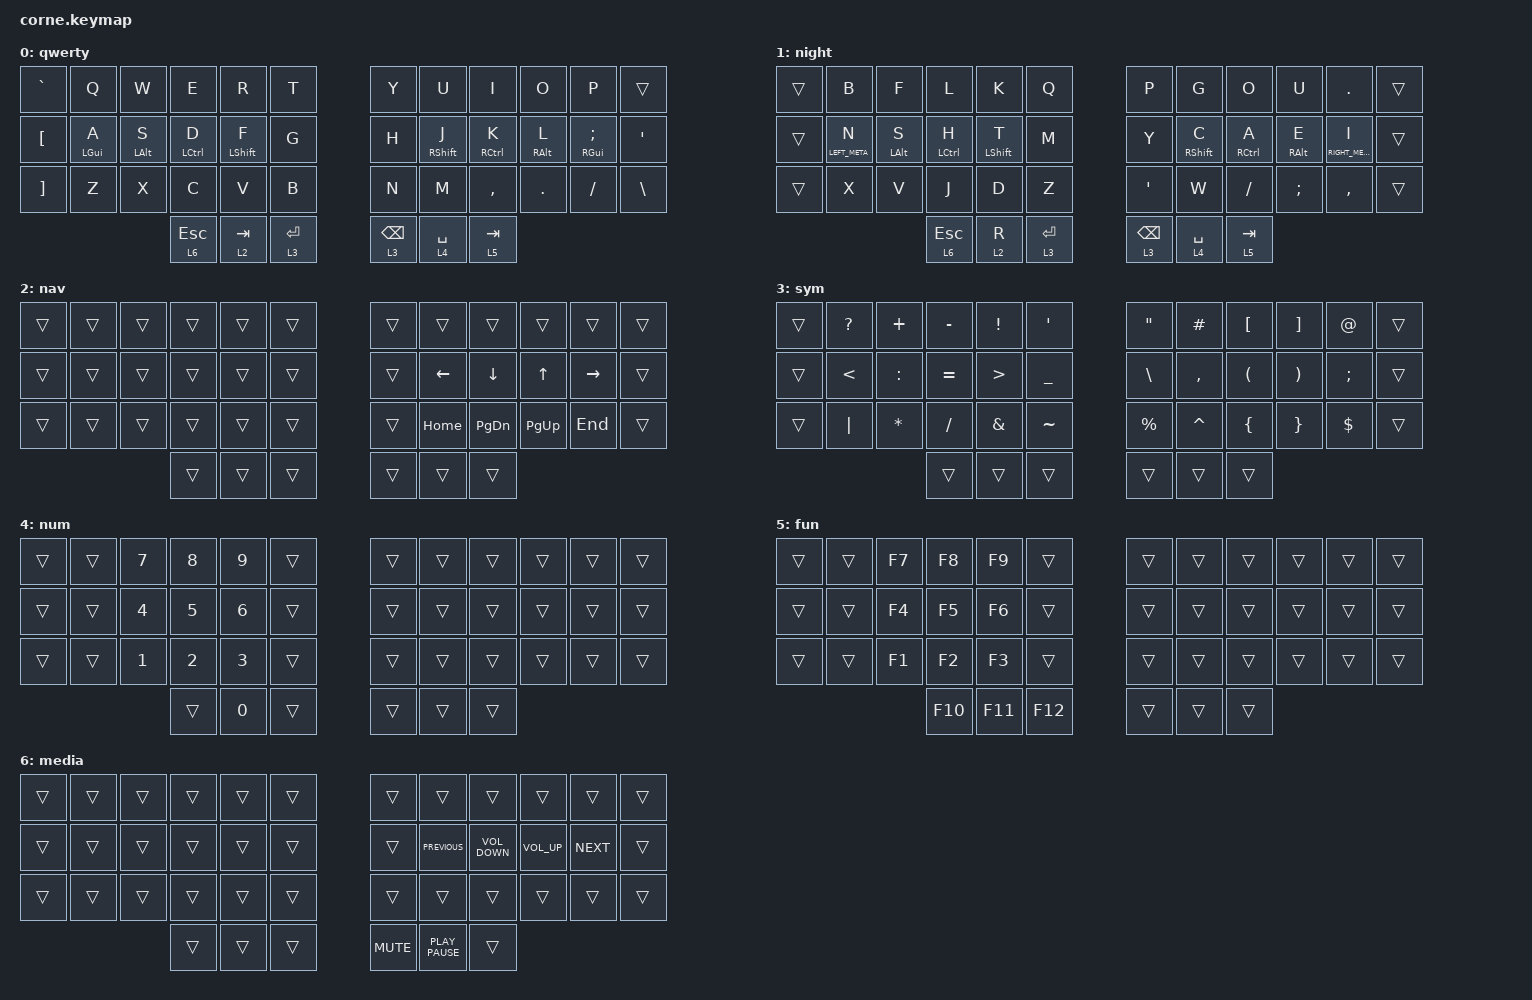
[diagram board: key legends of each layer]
/*
 * Copyright (c) 2020 The ZMK Contributors
 *
 * SPDX-License-Identifier: MIT
 */

#include <behaviors.dtsi>
#include <dt-bindings/zmk/keys.h>

/ {
    behaviors {
        hrm: hrm {
            compatible = "zmk,behavior-hold-tap";
            label = "Home Row Mod";
            bindings = <&kp>, <&kp>;

            #binding-cells = <2>;
            flavor = "balanced";
            tapping-term-ms = <200>;
            require-prior-idle-ms = <200>;
            quick-tap-ms = <200>;
        };
    };

    combos {
        compatible = "zmk,combos";

        combo_delete {
            bindings = <&kp DELETE>;
            key-positions = <16 39>;
        };

        combo_to_night {
            bindings = <&to 1>;
            key-positions = <38 39>;
            layers = <0>;
        };

        combo_to_qwerty {
            bindings = <&to 0>;
            key-positions = <38 39>;
            layers = <1>;
        };
    };

    keymap {
        compatible = "zmk,keymap";

        qwerty {
            // -----------------------------------------------------------------------------------------
            // |  TAB |  Q  |  W  |  E  |  R  |  T  |   |  Y  |  U   |  I  |  O  |  P  | BKSP |
            // | CTRL |  A  |  S  |  D  |  F  |  G  |   |  H  |  J   |  K  |  L  |  ;  |  '   |
            // | SHFT |  Z  |  X  |  C  |  V  |  B  |   |  N  |  M   |  ,  |  .  |  /  | ESC  |
            //                    | GUI | LWR | SPC |   | ENT | RSE  | ALT |

            bindings = <
&kp GRAVE          &kp Q        &kp W        &kp E         &kp R          &kp T          &kp Y            &kp U          &kp I         &kp O        &kp P           &trans
&kp LEFT_BRACKET   &hrm LGUI A  &hrm LALT S  &hrm LCTRL D  &hrm LSHIFT F  &kp G          &kp H            &hrm RSHIFT J  &hrm RCTRL K  &hrm RALT L  &hrm RGUI SEMI  &kp SQT
&kp RIGHT_BRACKET  &kp Z        &kp X        &kp C         &kp V          &kp B          &kp N            &kp M          &kp COMMA     &kp DOT      &kp FSLH        &kp BSLH
                                             &lt 6 ESCAPE  &lt 2 TAB      &lt 3 ENTER    &lt 3 BACKSPACE  &lt 4 SPACE    &lt 5 TAB
            >;
        };

        night {
            bindings = <
&trans  &kp B             &kp F            &kp L                &kp K              &kp Q          &kp P            &kp G               &kp O                 &kp U             &kp DOT            &trans
&trans  &hrm LEFT_META N  &hrm LEFT_ALT S  &hrm LEFT_CONTROL H  &hrm LEFT_SHIFT T  &kp M          &kp Y            &hrm RIGHT_SHIFT C  &hrm RIGHT_CONTROL A  &hrm RIGHT_ALT E  &hrm RIGHT_META I  &trans
&trans  &kp X             &kp V            &kp J                &kp D              &kp Z          &kp APOS         &kp W               &kp FSLH              &kp SEMI          &kp COMMA          &trans
                                           &lt 6 ESCAPE         &lt 2 R            &lt 3 ENTER    &lt 3 BACKSPACE  &lt 4 SPACE         &lt 5 TAB
            >;
        };

        nav {
            // -----------------------------------------------------------------------------------------
            // |  TAB |  1  |  2  |  3  |  4  |  5  |   |  6  |  7  |  8  |  9  |  0  | BKSP |
            // | BTCLR| BT1 | BT2 | BT3 | BT4 | BT5 |   | LFT | DWN |  UP | RGT |     |      |
            // | SHFT |     |     |     |     |     |   |     |     |     |     |     |      |
            //                    | GUI |     | SPC |   | ENT |     | ALT |

            bindings = <
&trans  &trans  &trans  &trans  &trans  &trans    &trans  &trans    &trans         &trans       &trans     &trans
&trans  &trans  &trans  &trans  &trans  &trans    &trans  &kp LEFT  &kp DOWN       &kp UP       &kp RIGHT  &trans
&trans  &trans  &trans  &trans  &trans  &trans    &trans  &kp HOME  &kp PAGE_DOWN  &kp PAGE_UP  &kp END    &trans
                        &trans  &trans  &trans    &trans  &trans    &trans
            >;
        };

        sym {
            bindings = <
&trans  &kp QUESTION   &kp PLUS   &kp MINUS  &kp EXCL          &kp SINGLE_QUOTE    &kp DOUBLE_QUOTES  &kp HASH   &kp LEFT_BRACKET      &kp RIGHT_BRACKET      &kp AT      &trans
&trans  &kp LESS_THAN  &kp COLON  &kp EQUAL  &kp GREATER_THAN  &kp UNDER           &kp BACKSLASH      &kp COMMA  &kp LEFT_PARENTHESIS  &kp RIGHT_PARENTHESIS  &kp SEMI    &trans
&trans  &kp PIPE       &kp ASTRK  &kp SLASH  &kp AMPS          &kp TILDE           &kp PERCENT        &kp CARET  &kp LEFT_BRACE        &kp RIGHT_BRACE        &kp DOLLAR  &trans
                                  &trans     &trans            &trans              &trans             &trans     &trans
            >;
        };

        num {
            bindings = <
&trans  &trans  &kp N7  &kp N8  &kp N9  &trans    &trans  &trans  &trans  &trans  &trans  &trans
&trans  &trans  &kp N4  &kp N5  &kp N6  &trans    &trans  &trans  &trans  &trans  &trans  &trans
&trans  &trans  &kp N1  &kp N2  &kp N3  &trans    &trans  &trans  &trans  &trans  &trans  &trans
                        &trans  &kp N0  &trans    &trans  &trans  &trans
            >;
        };

        fun {
            bindings = <
&trans  &trans  &kp F7  &kp F8   &kp F9   &trans     &trans  &trans  &trans  &trans  &trans  &trans
&trans  &trans  &kp F4  &kp F5   &kp F6   &trans     &trans  &trans  &trans  &trans  &trans  &trans
&trans  &trans  &kp F1  &kp F2   &kp F3   &trans     &trans  &trans  &trans  &trans  &trans  &trans
                        &kp F10  &kp F11  &kp F12    &trans  &trans  &trans
            >;
        };

        media {
            bindings = <
&trans  &trans  &trans  &trans  &trans  &trans    &trans      &trans            &trans             &trans           &trans      &trans
&trans  &trans  &trans  &trans  &trans  &trans    &trans      &kp K_PREVIOUS    &kp K_VOLUME_DOWN  &kp K_VOLUME_UP  &kp K_NEXT  &trans
&trans  &trans  &trans  &trans  &trans  &trans    &trans      &trans            &trans             &trans           &trans      &trans
                        &trans  &trans  &trans    &kp K_MUTE  &kp K_PLAY_PAUSE  &trans
            >;
        };
    };
};
